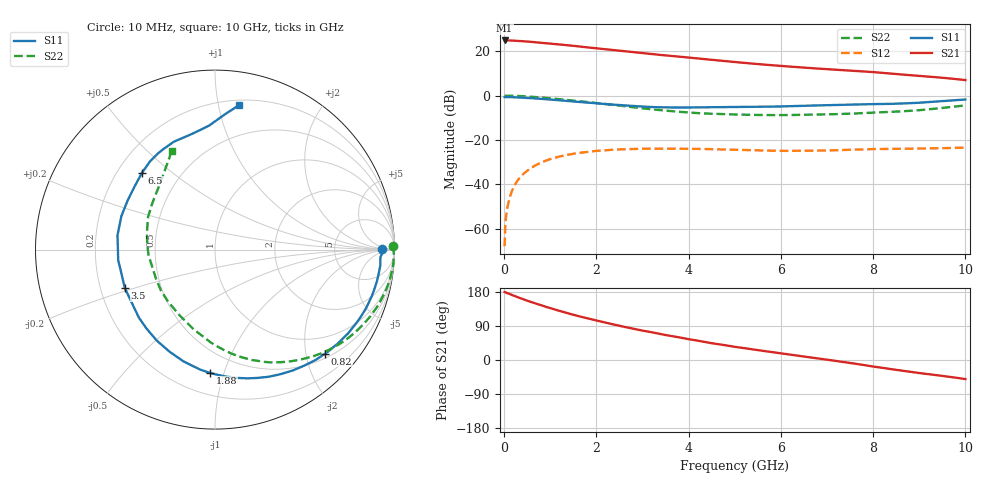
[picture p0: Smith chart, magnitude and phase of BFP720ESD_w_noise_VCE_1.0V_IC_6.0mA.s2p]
! Infineon Technologies  Discrete & RF Semiconductors
! BFP720ESD
! VCE =  1.0 V,  IC =  6.0 mA
! Common Emitter S-Parameters:  Jan 2016
# GHz  S  MA  R  50
!  f  S11  S21  S12  S22
! GHz  MAG  ANG  MAG  ANG  MAG  ANG  MAG  ANG
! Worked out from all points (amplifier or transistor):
!   233 points, 10 MHz to 10 GHz, reference 50 ohm
!   highest |S21| = 24.9 dB at 10 MHz (marker M1)
!   |S21| within 3 dB of that: start of sweep to 1.752 GHz
!   unconditionally stable (mu >= 1): 5.684 GHz to 9.662 GHz
!   at 200 MHz: K = 0.06, MSG = 33.2 dB, |S12| = -41.5 dB
!   at 1.74 GHz: K = 0.29, MSG = 23.7 dB, |S12| = -25.5 dB
!   at 10 GHz: K = 0.85, MSG = 15.2 dB, |S12| = -23.5 dB
!   lowest NFmin = 0.58 dB at 450 MHz
!   S11 on the Smith chart (normalised r, x): 10 MHz: 27, +2; 820 MHz: 0.59, -2.39; 1.88 GHz: 0.35, -0.90; 3.5 GHz: 0.30, -0.19; 6.5 GHz: 0.30, +0.40; 10 GHz: 0.24, +1.15
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0.01  0.9278 0.3  17.6 179.6  0.0004 160.0  0.9902 1.1
0.035  0.9266 -2.0  17.48 178.1  0.0016 83.3  0.9965 -1.2
0.115  0.9241 -6.3  17.58 174.4  0.0048 85.5  0.9961 -4.5
0.26  0.9144 -14.3  17.3 167.2  0.0108 80.6  0.9864 -10.3
0.44  0.8965 -23.9  16.83 159.2  0.0179 74.2  0.9659 -17.1
0.6  0.8761 -32.2  16.34 152.3  0.0239 68.8  0.9426 -23.1
0.82  0.8438 -43.4  15.6 143.7  0.0314 61.6  0.905 -30.8
1.2  0.7844 -62.2  14.34 129.6  0.0423 50.5  0.8322 -43.6
1.68  0.7134 -83.9  12.71 113.7  0.052 38.3  0.7392 -57.7
1.88  0.6868 -92.4  12.07 107.8  0.0551 34.0  0.7032 -63.3
2.2  0.6472 -105.7  11.15 98.5  0.0588 27.6  0.647 -71.8
2.6  0.6024 -122.4  10.1 87.6  0.0619 20.1  0.5776 -82.5
3  0.5687 -138.3  9.136 77.5  0.0633 13.9  0.5174 -92.7
3.4  0.5459 -153.0  8.276 68.4  0.0636 8.8  0.469 -102.4
3.5  0.5461 -156.8  8.098 65.9  0.0637 7.5  0.4593 -105.1
4  0.5425 -173.9  7.241 54.9  0.0634 2.4  0.4167 -118.0
4.5  0.5491 171.6  6.45 44.3  0.0621 -2.2  0.3905 -132.0
5.1  0.5535 158.4  5.609 33.1  0.0596 -5.6  0.3741 -145.4
6.5  0.5907 133.5  4.293 9.0  0.0568 -7.4  0.3716 -175.2
6.8  0.6013 129.2  4.083 4.2  0.0574 -7.3  0.3747 179.2
8.4  0.653 103.0  3.133 -24.3  0.0628 -11.8  0.4306 145.1
10  0.8167 80.5  2.244 -50.3  0.0672 -16.8  0.6018 113.6
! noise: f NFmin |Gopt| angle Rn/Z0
0.45  0.58  0.43  5  0.13
0.9  0.61  0.42  12  0.14
1.9  0.64  0.36  31  0.13
2.4  0.68  0.34  36  0.14
5.5  0.89  0.11  111  0.08
10  1.47  0.54  -97  0.38
